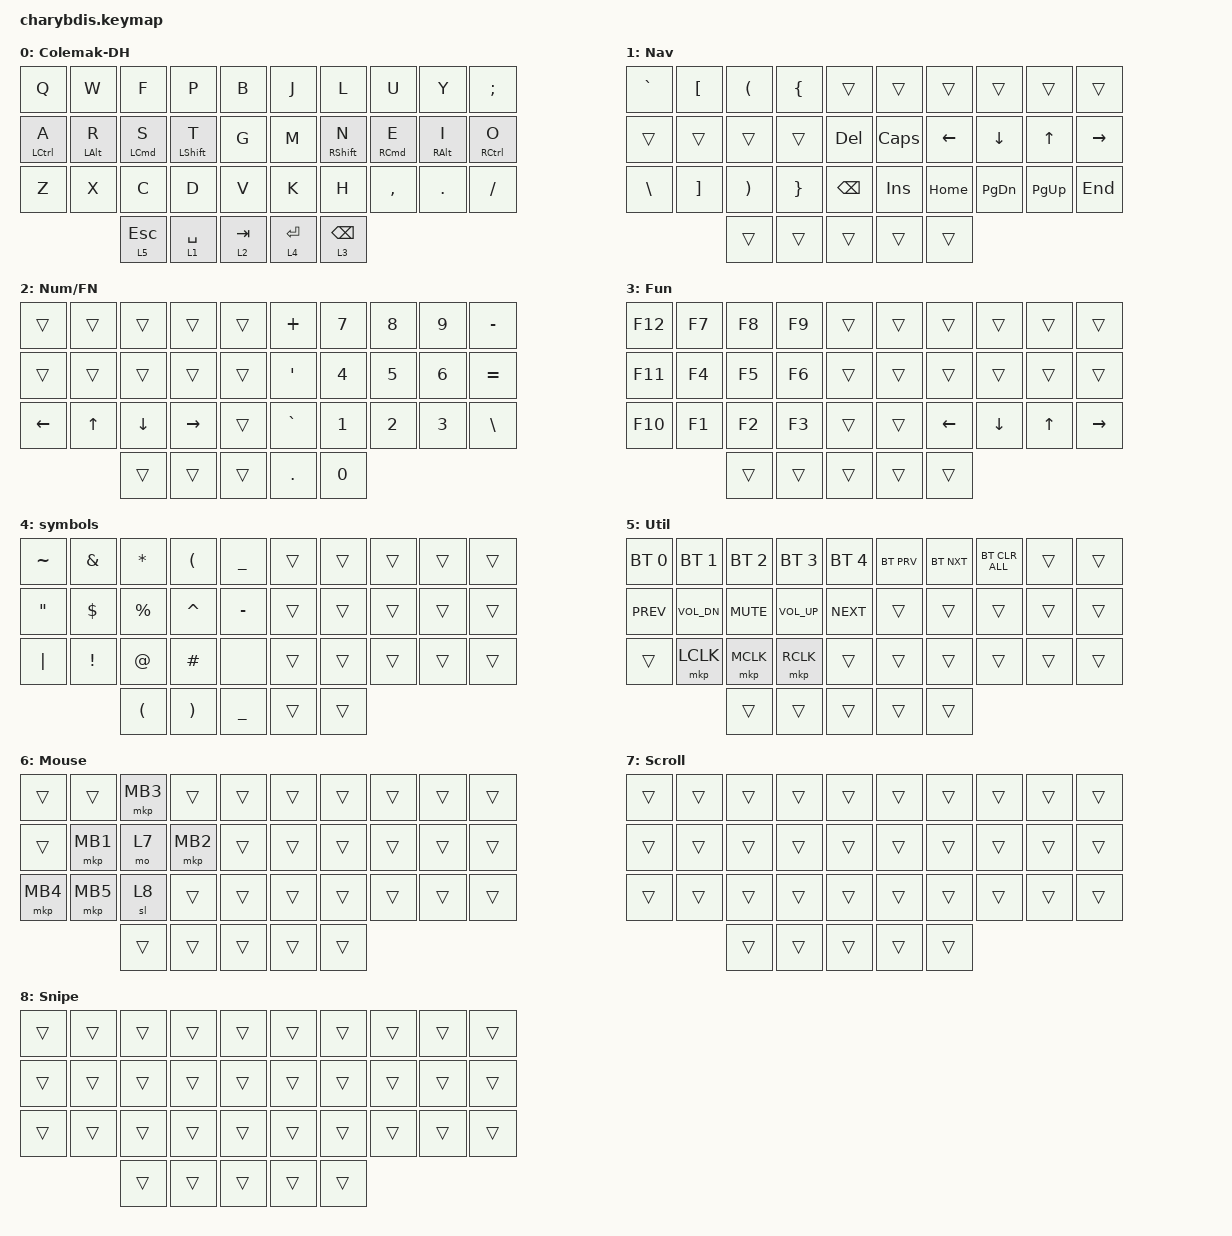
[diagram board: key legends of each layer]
#include "layers.conf"
#include "macros.conf"
#include "combos.conf"
#include <dt-bindings/zmk/mouse.h>
#include <input/processors.dtsi>
#include <dt-bindings/zmk/input_transform.h>
#include <behaviors.dtsi>
#include <dt-bindings/zmk/bt.h>
#include <dt-bindings/zmk/keys.h>
#include <dt-bindings/zmk/pointing.h>

/ {
    trackball_listener {
        compatible = "zmk,input-listener";
        device = <&trackball_split>;

        snipe {
            layers = <SNIPE>;
            input-processors = <&zip_xy_scaler 1 3>;
        };

        scroll {
            layers = <SCROLL>;
            input-processors =
                <&zip_xy_scaler 1 3>,
                <&zip_xy_to_scroll_mapper>,
                <&zip_scroll_transform (INPUT_TRANSFORM_Y_INVERT)>;
        };
    };

    behaviors {
        hm: homerow_mods {
            compatible = "zmk,behavior-hold-tap";
            #binding-cells = <2>;
            tapping-term-ms = <200>;
            flavor = "tap-preferred";
            bindings = <&kp>, <&kp>;
        };

        kp_sl: behavior_kp_sl {
            compatible = "zmk,behavior-hold-tap";
            #binding-cells = <2>;
            flavor = "hold-preferred";
            tapping-term-ms = <200>;
            bindings = <&sl>, <&kp>;
        };

        ht: behavior_hold_tap_key {
            compatible = "zmk,behavior-hold-tap";
            #binding-cells = <2>;
            flavor = "hold-preferred";
            tapping-term-ms = <200>;
            bindings = <&kp>, <&kp>;
        };
    };

    conditional_layers {
        compatible = "zmk,conditional-layers";

        settings_trigger {
            if-layers = <1 2>;
            then-layer = <6>;
        };
    };

    combos {
        compatible = "zmk,combos";

        KP_Z {
            bindings = <&kp Z>;
            key-positions = <0 1>;
        };

        KP_Q {
            bindings = <&kp Q>;
            key-positions = <1 2>;
        };
    };

    macros {
        Debug_FMT: Debug_FMT {
            compatible = "zmk,behavior-macro";
            #binding-cells = <0>;
            bindings = <&kp LEFT_BRACE &kp COLON &kp QMARK &kp RBRC>;
            label = "DEBUG_FMT";
        };

        debug_FMT_pretty: debug_FMT_pretty {
            compatible = "zmk,behavior-macro";
            #binding-cells = <0>;
            bindings = <&kp LEFT_BRACE &kp COLON &kp POUND &kp QMARK &kp RBRC>;
            label = "DEBUG_FMT_PRETTY";
        };

        derive_macro: derive {
            compatible = "zmk,behavior-macro";
            #binding-cells = <0>;
            bindings = <&kp POUND &kp LBKT &kp D &kp E &kp R &kp I &kp V &kp E &kp LPAR &kp RPAR &kp RIGHT_BRACKET &kp LEFT &kp LEFT>;
            label = "DERIVE";
        };

        component_macro: component_macro {
            compatible = "zmk,behavior-macro";
            #binding-cells = <0>;
            bindings = <&kp POUND &kp LBKT &kp C &kp O &kp M &kp P &kp O &kp N &kp E &kp N &kp T &kp RIGHT_BRACKET &kp RETURN>;
            label = "COMPONENT_MACRO";
        };

        lt_eq: lt_eq {
            compatible = "zmk,behavior-macro";
            #binding-cells = <0>;
            bindings = <&kp LT &kp EQUAL &kp SPACE>;
            label = "LT_EQ";
        };
    };

    keymap {
        compatible = "zmk,keymap";

        base_layer {
            display-name = "Colemak-DH";
            bindings = <
  &kp Q        &kp W       &kp F       &kp P         &kp B        &kp J        &kp L            &kp U       &kp Y       &kp SEMI
  &hm LCTRL A  &hm LALT R  &hm LCMD S  &hm LSHIFT T  &kp G        &kp M        &hm RSHFT N      &hm RCMD E  &hm RALT I  &hm RCTRL O
  &kp Z        &kp X       &kp C       &kp D         &kp V        &kp K        &kp H            &kp COMMA   &kp DOT     &kp FSLH
                           &lt 5 ESC   &lt 1 SPACE   &lt 2 TAB    &lt 4 ENTER  &lt 3 BACKSPACE
            >;
        };

        nav_layer {
            display-name = "Nav";
            bindings = <
  &kp GRAVE  &kp LBKT  &kp LPAR  &kp LBRC  &trans      &trans    &trans    &trans     &trans     &trans
  &trans     &trans    &trans    &trans    &kp DEL     &kp CAPS  &kp LEFT  &kp DOWN   &kp UP     &kp RIGHT
  &kp BSLH   &kp RBKT  &kp RPAR  &kp RBRC  &kp BSPC    &kp INS   &kp HOME  &kp PG_DN  &kp PG_UP  &kp END
                       &trans    &trans    &trans      &trans    &trans
            >;
        };

        numfn_layer {
            display-name = "Num/FN";
            bindings = <
  &trans    &trans  &trans    &trans     &trans    &kp PLUS   &kp N7  &kp N8  &kp N9  &kp MINUS
  &trans    &trans  &trans    &trans     &trans    &kp APOS   &kp N4  &kp N5  &kp N6  &kp EQUAL
  &kp LEFT  &kp UP  &kp DOWN  &kp RIGHT  &trans    &kp GRAVE  &kp N1  &kp N2  &kp N3  &kp BSLH
                    &trans    &trans     &trans    &kp DOT    &kp N0
            >;
        };

        Fun {
            bindings = <
  &kp F12  &kp F7  &kp F8  &kp F9  &trans    &trans  &trans    &trans    &trans  &trans
  &kp F11  &kp F4  &kp F5  &kp F6  &trans    &trans  &trans    &trans    &trans  &trans
  &kp F10  &kp F1  &kp F2  &kp F3  &trans    &trans  &kp LEFT  &kp DOWN  &kp UP  &kp RIGHT
                   &trans  &trans  &trans    &trans  &trans
            >;
        };

        sym_layer {
            display-name = "symbols";
            bindings = <
  &kp TILDE  &kp AMPS  &kp STAR   &kp LPAR   &kp UNDER    &trans  &trans  &trans  &trans  &trans
  &kp DQT    &kp DLLR  &kp PRCNT  &kp CARET  &kp MINUS    &trans  &trans  &trans  &trans  &trans
  &kp PIPE   &kp EXCL  &kp AT     &kp HASH   &none        &trans  &trans  &trans  &trans  &trans
                       &kp LPAR   &kp RPAR   &kp UNDER    &trans  &trans
            >;
        };

        util_layer {
            display-name = "Util";
            bindings = <
  &bt BT_SEL 0  &bt BT_SEL 1  &bt BT_SEL 2  &bt BT_SEL 3  &bt BT_SEL 4    &bt BT_PRV  &bt BT_NXT  &bt BT_CLR_ALL  &trans  &trans
  &kp C_PREV    &kp C_VOL_DN  &kp K_MUTE    &kp C_VOL_UP  &kp C_NEXT      &trans      &trans      &trans          &trans  &trans
  &trans        &mkp LCLK     &mkp MCLK     &mkp RCLK     &trans          &trans      &trans      &trans          &trans  &trans
                              &trans        &trans        &trans          &trans      &trans
            >;
        };

        mouse_layer {
            display-name = "Mouse";
            bindings = <
  &trans    &trans    &mkp MB3  &trans    &trans    &trans  &trans  &trans  &trans  &trans
  &trans    &mkp MB1  &mo 7     &mkp MB2  &trans    &trans  &trans  &trans  &trans  &trans
  &mkp MB4  &mkp MB5  &sl 8     &trans    &trans    &trans  &trans  &trans  &trans  &trans
                      &trans    &trans    &trans    &trans  &trans
            >;
        };

        scroll_layer {
            display-name = "Scroll";
            bindings = <
  &trans  &trans  &trans  &trans  &trans    &trans  &trans  &trans  &trans  &trans
  &trans  &trans  &trans  &trans  &trans    &trans  &trans  &trans  &trans  &trans
  &trans  &trans  &trans  &trans  &trans    &trans  &trans  &trans  &trans  &trans
                  &trans  &trans  &trans    &trans  &trans
            >;
        };

        snipe_layer {
            display-name = "Snipe";
            bindings = <
  &trans  &trans  &trans  &trans  &trans    &trans  &trans  &trans  &trans  &trans
  &trans  &trans  &trans  &trans  &trans    &trans  &trans  &trans  &trans  &trans
  &trans  &trans  &trans  &trans  &trans    &trans  &trans  &trans  &trans  &trans
                  &trans  &trans  &trans    &trans  &trans
            >;
        };
    };
};
